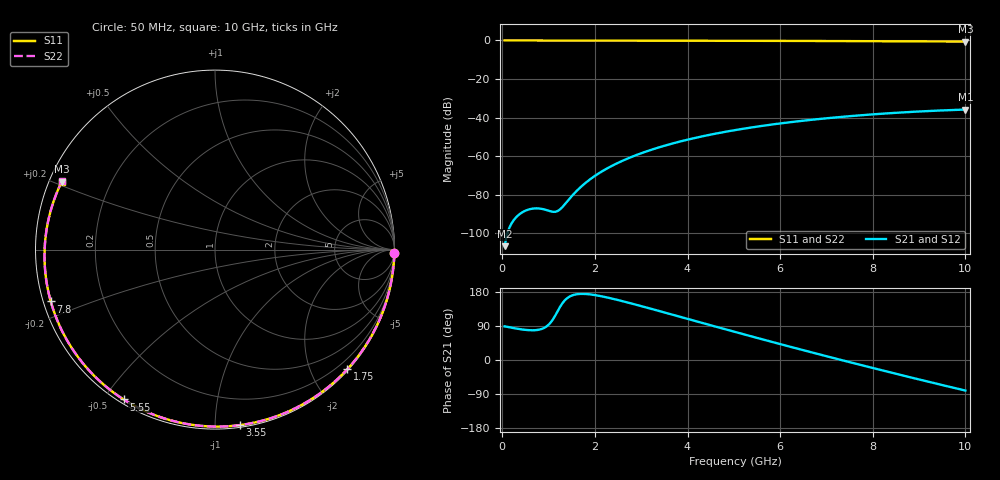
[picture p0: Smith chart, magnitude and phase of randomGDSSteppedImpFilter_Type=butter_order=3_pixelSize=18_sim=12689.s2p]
! freq	dB(S11)	phase(S11)	dB(S12)	phase(S12)
!  dB(S21)	phase(S21)	dB(S22)	phase(S22)
!S-par simulation data
#  GHz  S  DB  R 50
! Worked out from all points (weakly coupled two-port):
!   200 points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, 50 MHz to 10 GHz, reference 50 ohm
!   highest |S21| = -35.84 dB at 10 GHz (marker M1); lowest = -106.7 dB at 50 MHz (marker M2)
!   lowest |S11| = -0.6 dB at 10 GHz (marker M3), VSWR 29.30, Z = 1.78 + j10.6 ohm
!   |S11| at or under -10 dB: nowhere
!   |S22| runs from -0.6 to 0.0 dB; largest |S21 - S12| = 0
!   S11 on the Smith chart (normalised r, x): 50 MHz: 1, -95; 1.75 GHz: 0.02, -2.60; 3.55 GHz: 0.01, -1.15; 5.55 GHz: 0.01, -0.56; 7.8 GHz: 0.02, -0.15; 10 GHz: 0.04, +0.21
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0.05  -0.00 -1.2  -106.69 88.8  -106.69 88.8  -0.00 -1.2
0.4  -0.02 -9.8  -89.62 81.0  -89.62 81.0  -0.02 -9.8
0.75  -0.02 -18.3  -87.08 79.1  -87.08 79.1  -0.02 -18.3
1.1  -0.03 -26.8  -88.88 108.4  -88.88 108.4  -0.03 -26.8
1.5  -0.05 -36.3  -80.74 170.1  -80.74 170.1  -0.05 -36.3
1.55  -0.05 -37.4  -79.42 172.1  -79.42 172.1  -0.05 -37.5
1.75  -0.05 -42.1  -74.82 174.5  -74.82 174.5  -0.05 -42.1
2.05  -0.06 -49.0  -69.44 170.3  -69.44 170.3  -0.06 -49.1
2.45  -0.07 -58.1  -64.04 159.7  -64.04 159.7  -0.07 -58.1
2.9  -0.09 -68.0  -59.39 145.5  -59.39 145.5  -0.09 -68.1
3.4  -0.10 -78.8  -55.32 128.9  -55.32 128.9  -0.10 -78.8
3.55  -0.11 -81.9  -54.27 123.8  -54.27 123.8  -0.11 -82.0
4.3  -0.14 -97.3  -49.83 98.4  -49.83 98.4  -0.14 -97.3
5.05  -0.17 -111.9  -46.40 73.2  -46.40 73.2  -0.17 -112.0
5.55  -0.19 -121.4  -44.52 56.7  -44.52 56.7  -0.19 -121.4
6.15  -0.23 -132.5  -42.59 37.1  -42.59 37.1  -0.23 -132.6
6.7  -0.27 -142.6  -41.09 19.5  -41.09 19.5  -0.27 -142.6
7.25  -0.31 -152.5  -39.80 2.1  -39.80 2.1  -0.31 -152.6
7.8  -0.36 -162.5  -38.70 -15.0  -38.70 -15.0  -0.36 -162.5
8.35  -0.41 -172.5  -37.75 -31.8  -37.75 -31.8  -0.41 -172.6
9.2  -0.50 171.6  -36.60 -57.3  -36.60 -57.3  -0.50 171.6
10  -0.59 156.1  -35.84 -80.6  -35.84 -80.6  -0.59 156.0
